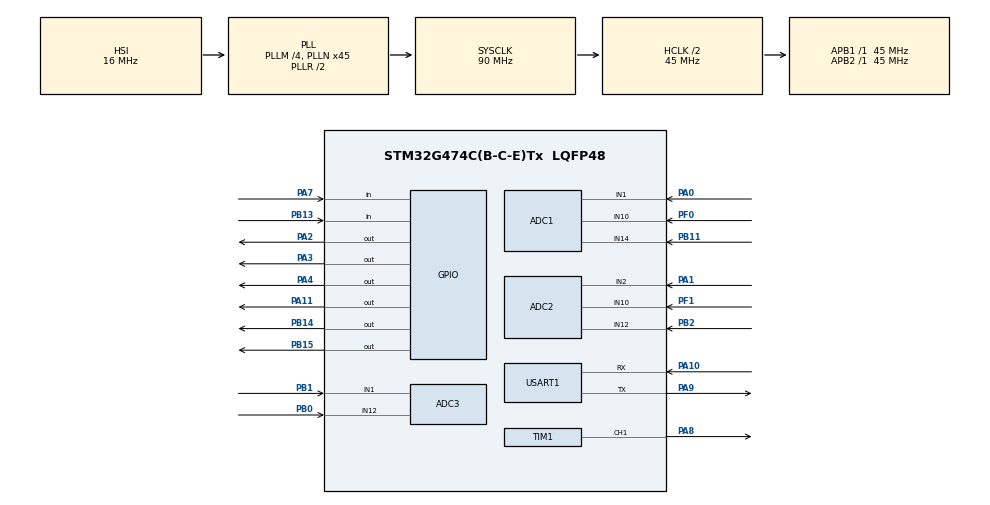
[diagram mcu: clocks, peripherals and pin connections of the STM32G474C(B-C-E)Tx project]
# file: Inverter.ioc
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ADC1.Channel-0\#ChannelRegularConversion=ADC_CHANNEL_1
ADC1.Channel-1\#ChannelRegularConversion=ADC_CHANNEL_10
ADC1.Channel-3\#ChannelRegularConversion=ADC_CHANNEL_14
ADC1.ContinuousConvMode=ENABLE
ADC1.EOCSelection=ADC_EOC_SEQ_CONV
ADC1.NbrOfConversion=3
ADC1.NbrOfConversionFlag=1
ADC1.OffsetNumber-0\#ChannelRegularConversion=ADC_OFFSET_NONE
ADC1.OffsetNumber-1\#ChannelRegularConversion=ADC_OFFSET_NONE
ADC1.OffsetNumber-3\#ChannelRegularConversion=ADC_OFFSET_NONE
ADC1.OversamplingMode=DISABLE
ADC1.Rank-0\#ChannelRegularConversion=1
ADC1.Rank-1\#ChannelRegularConversion=2
ADC1.Rank-3\#ChannelRegularConversion=3
ADC1.SamplingTime-0\#ChannelRegularConversion=ADC_SAMPLETIME_2CYCLES_5
ADC1.SamplingTime-1\#ChannelRegularConversion=ADC_SAMPLETIME_2CYCLES_5
ADC1.SamplingTime-3\#ChannelRegularConversion=ADC_SAMPLETIME_2CYCLES_5
ADC1.master=1
ADC2.Channel-1\#ChannelRegularConversion=ADC_CHANNEL_2
ADC2.Channel-2\#ChannelRegularConversion=ADC_CHANNEL_10
ADC2.Channel-3\#ChannelRegularConversion=ADC_CHANNEL_12
ADC2.ContinuousConvMode=ENABLE
ADC2.EOCSelection=ADC_EOC_SEQ_CONV
ADC2.NbrOfConversion=3
ADC2.NbrOfConversionFlag=1
ADC2.OffsetNumber-1\#ChannelRegularConversion=ADC_OFFSET_NONE
ADC2.OffsetNumber-2\#ChannelRegularConversion=ADC_OFFSET_NONE
ADC2.OffsetNumber-3\#ChannelRegularConversion=ADC_OFFSET_NONE
ADC2.Rank-1\#ChannelRegularConversion=1
ADC2.Rank-2\#ChannelRegularConversion=2
ADC2.Rank-3\#ChannelRegularConversion=3
ADC2.SamplingTime-1\#ChannelRegularConversion=ADC_SAMPLETIME_2CYCLES_5
ADC2.SamplingTime-2\#ChannelRegularConversion=ADC_SAMPLETIME_2CYCLES_5
ADC2.SamplingTime-3\#ChannelRegularConversion=ADC_SAMPLETIME_2CYCLES_5
ADC3.Channel-1\#ChannelRegularConversion=ADC_CHANNEL_1
ADC3.Channel-2\#ChannelRegularConversion=ADC_CHANNEL_12
ADC3.ContinuousConvMode=ENABLE
ADC3.EOCSelection=ADC_EOC_SEQ_CONV
ADC3.NbrOfConversion=2
ADC3.NbrOfConversionFlag=1
ADC3.OffsetNumber-1\#ChannelRegularConversion=ADC_OFFSET_NONE
ADC3.OffsetNumber-2\#ChannelRegularConversion=ADC_OFFSET_NONE
ADC3.OversamplingMode=DISABLE
ADC3.Rank-1\#ChannelRegularConversion=1
ADC3.Rank-2\#ChannelRegularConversion=2
ADC3.SamplingTime-1\#ChannelRegularConversion=ADC_SAMPLETIME_12CYCLES_5
ADC3.SamplingTime-2\#ChannelRegularConversion=ADC_SAMPLETIME_12CYCLES_5
ADC3.master=1
FREERTOS.BinarySemaphores01=myBinarySem01,Dynamic,NULL,Available
FREERTOS.HEAP_NUMBER=4
FREERTOS.Tasks01=defaultTask,0,700,StartDefaultTask,Default,NULL,Dynamic,NULL,NULL;myTask02,0,700,StartTask02,Default,NULL,Dynamic,NULL,NULL
FREERTOS.configGENERATE_RUN_TIME_STATS=1
FREERTOS.configMINIMAL_STACK_SIZE=600
FREERTOS.configTOTAL_HEAP_SIZE=8500
FREERTOS.configUSE_NEWLIB_REENTRANT=1
Mcu.Family=STM32G4
Mcu.Name=STM32G474C(B-C-E)Tx
Mcu.Package=LQFP48
NVIC.ADC1_2_IRQn=true\:5\:0\:false\:false\:true\:true\:true\:true\:true
NVIC.ADC3_IRQn=true\:5\:0\:false\:false\:true\:true\:true\:true\:true
NVIC.PriorityGroup=NVIC_PRIORITYGROUP_4
NVIC.TIM1_BRK_TIM15_IRQn=true\:5\:0\:false\:false\:true\:true\:true\:true\:true
NVIC.TIM1_CC_IRQn=true\:5\:0\:false\:false\:true\:true\:true\:true\:true
NVIC.TIM1_TRG_COM_TIM17_IRQn=true\:5\:0\:false\:false\:true\:true\:true\:true\:true
NVIC.TIM1_UP_TIM16_IRQn=true\:5\:0\:false\:false\:true\:true\:true\:true\:true
NVIC.USART1_IRQn=true\:5\:0\:false\:false\:true\:true\:true\:true\:true
PA0.Mode=IN1-Single-Ended
PA0.Signal=ADC1_IN1
PA1.Mode=IN2-Single-Ended
PA1.Signal=ADC2_IN2
PA10.Mode=Asynchronous
PA10.Signal=USART1_RX
PA11.Signal=GPIO_Output
PA2.Signal=GPIO_Output
PA3.Signal=GPIO_Output
PA4.Signal=GPIO_Output
PA7.Signal=GPIO_Input
PA8.Signal=S_TIM1_CH1
PA9.Mode=Asynchronous
PA9.Signal=USART1_TX
PB0.Mode=IN12-Single-Ended
PB0.Signal=ADC3_IN12
PB1.Mode=IN1-Single-Ended
PB1.Signal=ADC3_IN1
PB11.Mode=IN14-Single-Ended
PB11.Signal=ADC1_IN14
PB13.Signal=GPIO_Input
PB14.Signal=GPIO_Output
PB15.Signal=GPIO_Output
PB2.Mode=IN12-Single-Ended
PB2.Signal=ADC2_IN12
PF0-OSC_IN.Mode=IN10-Single-Ended
PF0-OSC_IN.Signal=ADC1_IN10
PF1-OSC_OUT.Mode=IN10-Single-Ended
PF1-OSC_OUT.Signal=ADC2_IN10
ProjectManager.HeapSize=0x200
ProjectManager.StackSize=0x400
ProjectManager.TargetToolchain=STM32CubeIDE
RCC.ADC12Freq_Value=90000000
RCC.ADC345Freq_Value=90000000
RCC.AHBCLKDivider=RCC_SYSCLK_DIV2
RCC.AHBFreq_Value=45000000
RCC.APB1Freq_Value=45000000
RCC.APB1TimFreq_Value=45000000
RCC.APB2Freq_Value=45000000
RCC.APB2TimFreq_Value=45000000
RCC.CortexFreq_Value=45000000
RCC.EXTERNAL_CLOCK_VALUE=12288000
RCC.HCLKFreq_Value=45000000
RCC.HSE_VALUE=8000000
RCC.HSI48_VALUE=48000000
RCC.HSI_VALUE=16000000
RCC.LSE_VALUE=32768
RCC.PLLM=RCC_PLLM_DIV4
RCC.PLLN=45
RCC.SYSCLKFreq_VALUE=90000000
RCC.SYSCLKSource=RCC_SYSCLKSOURCE_PLLCLK
RCC.USBFreq_Value=90000000
RCC.VCOOutputFreq_Value=180000000
SH.S_TIM1_CH1.0=TIM1_CH1,PWM Generation1 CH1
TIM1.Channel-PWM\ Generation1\ CH1=TIM_CHANNEL_1
USART1.VirtualMode-Asynchronous=VM_ASYNC
VP_FREERTOS_VS_CMSIS_V1.Mode=CMSIS_V1
VP_SYS_VS_DBSignals.Mode=DisableDeadBatterySignals
board=custom

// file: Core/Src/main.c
/* USER CODE BEGIN Header */
/**
  ******************************************************************************
  * @file           : main.c
  * @brief          : Main program body
  ******************************************************************************
  * @attention
  *
  * Copyright (c) 2024 STMicroelectronics.
  * All rights reserved.
  *
  * This software is licensed under terms that can be found in the LICENSE file
  * in the root directory of this software component.
  * If no LICENSE file comes with this software, it is provided AS-IS.
  *
  ******************************************************************************
  */
/* USER CODE END Header */
#include "main.h"
#include "cmsis_os.h"

ADC_HandleTypeDef hadc1;
ADC_HandleTypeDef hadc2;
ADC_HandleTypeDef hadc3;

TIM_HandleTypeDef htim1;

UART_HandleTypeDef huart1;

osThreadId defaultTaskHandle;
osThreadId myTask02Handle;
osSemaphoreId myBinarySem01Handle;

void SystemClock_Config(void);
static void MX_GPIO_Init(void);
static void MX_ADC1_Init(void);
static void MX_TIM1_Init(void);
static void MX_USART1_UART_Init(void);
static void MX_ADC2_Init(void);
static void MX_ADC3_Init(void);
void StartDefaultTask(void const * argument);
void StartTask02(void const * argument);

/* USER CODE BEGIN 0 */
#define OVER_VOLTAGE_THRESHOLD 50.0
#define UNDER_VOLTAGE_THRESHOLD 10.0
#define OVER_CURRENT_THRESHOLD 20.0
#define OVER_TEMPERATURE_THRESHOLD 75.0

float rawCurrent;
float rawVoltage;
float rawTemp;

float voltage = 0.0;
float current = 0.0;
float temperature = 0.0;
float VOLTAGE_SCALE = 0.01221;
float CURRENT_SCALE = 0.00488;
float TEMP_SCALE = 100;
float MAX_OUTPUT = 50;
float TIM_PERIOD = 1000;
int a;
int b;
int d;

float pwmDuty;
/* Private user code ---------------------------------------------------------*/
/* USER CODE BEGIN 0 */

float desiredOutput = 3;
/* USER CODE END 0 */

int main(void)
{

  /* MCU Configuration--------------------------------------------------------*/

  /* Reset of all peripherals, Initializes the Flash interface and the Systick. */
  HAL_Init();

  /* Configure the system clock */
  SystemClock_Config();

  /* Initialize all configured peripherals */
  MX_GPIO_Init();
  MX_ADC1_Init();
  MX_TIM1_Init();
  MX_USART1_UART_Init();
  MX_ADC2_Init();
  MX_ADC3_Init();
  /* USER CODE BEGIN 2 */
  HAL_TIM_PWM_Start(&htim1, TIM_CHANNEL_1);

  /* USER CODE END 2 */

  /* Create the semaphores(s) */
  /* definition and creation of myBinarySem01 */
  osSemaphoreDef(myBinarySem01);
  myBinarySem01Handle = osSemaphoreCreate(osSemaphore(myBinarySem01), 1);

  /* Create the thread(s) */
  /* definition and creation of defaultTask */
  osThreadDef(defaultTask, StartDefaultTask, osPriorityNormal, 0, 700);
  defaultTaskHandle = osThreadCreate(osThread(defaultTask), NULL);

  /* definition and creation of myTask02 */
  osThreadDef(myTask02, StartTask02, osPriorityNormal, 0, 700);
  myTask02Handle = osThreadCreate(osThread(myTask02), NULL);

  /* Start scheduler */
  osKernelStart();

  /* We should never get here as control is now taken by the scheduler */

  /* Infinite loop */
  while (1)
  {

  }
}

void SystemClock_Config(void)
{
  RCC_OscInitTypeDef RCC_OscInitStruct = {0};
  RCC_ClkInitTypeDef RCC_ClkInitStruct = {0};

  /** Configure the main internal regulator output voltage
  */
  HAL_PWREx_ControlVoltageScaling(PWR_REGULATOR_VOLTAGE_SCALE1);

  /** Initializes the RCC Oscillators according to the specified parameters
  * in the RCC_OscInitTypeDef structure.
  */
  RCC_OscInitStruct.OscillatorType = RCC_OSCILLATORTYPE_HSI;
  RCC_OscInitStruct.HSIState = RCC_HSI_ON;
  RCC_OscInitStruct.HSICalibrationValue = RCC_HSICALIBRATION_DEFAULT;
  RCC_OscInitStruct.PLL.PLLState = RCC_PLL_ON;
  RCC_OscInitStruct.PLL.PLLSource = RCC_PLLSOURCE_HSI;
  RCC_OscInitStruct.PLL.PLLM = RCC_PLLM_DIV4;
  RCC_OscInitStruct.PLL.PLLN = 45;
  RCC_OscInitStruct.PLL.PLLP = RCC_PLLP_DIV2;
  RCC_OscInitStruct.PLL.PLLQ = RCC_PLLQ_DIV2;
  RCC_OscInitStruct.PLL.PLLR = RCC_PLLR_DIV2;
  if (HAL_RCC_OscConfig(&RCC_OscInitStruct) != HAL_OK)
  {
    Error_Handler();
  }

  /** Initializes the CPU, AHB and APB buses clocks
  */
  RCC_ClkInitStruct.ClockType = RCC_CLOCKTYPE_HCLK|RCC_CLOCKTYPE_SYSCLK
                              |RCC_CLOCKTYPE_PCLK1|RCC_CLOCKTYPE_PCLK2;
  RCC_ClkInitStruct.SYSCLKSource = RCC_SYSCLKSOURCE_PLLCLK;
  RCC_ClkInitStruct.AHBCLKDivider = RCC_SYSCLK_DIV2;
  RCC_ClkInitStruct.APB1CLKDivider = RCC_HCLK_DIV1;
  RCC_ClkInitStruct.APB2CLKDivider = RCC_HCLK_DIV1;

  if (HAL_RCC_ClockConfig(&RCC_ClkInitStruct, FLASH_LATENCY_1) != HAL_OK)
  {
    Error_Handler();
  }
}

static void MX_ADC1_Init(void)
{

  ADC_MultiModeTypeDef multimode = {0};
  ADC_ChannelConfTypeDef sConfig = {0};

  /** Common config
  */
  hadc1.Instance = ADC1;
  hadc1.Init.ClockPrescaler = ADC_CLOCK_SYNC_PCLK_DIV2;
  hadc1.Init.Resolution = ADC_RESOLUTION_12B;
  hadc1.Init.DataAlign = ADC_DATAALIGN_RIGHT;
  hadc1.Init.GainCompensation = 0;
  hadc1.Init.ScanConvMode = ADC_SCAN_ENABLE;
  hadc1.Init.EOCSelection = ADC_EOC_SEQ_CONV;
  hadc1.Init.LowPowerAutoWait = DISABLE;
  hadc1.Init.ContinuousConvMode = ENABLE;
  hadc1.Init.NbrOfConversion = 3;
  hadc1.Init.DiscontinuousConvMode = DISABLE;
  hadc1.Init.ExternalTrigConv = ADC_SOFTWARE_START;
  hadc1.Init.ExternalTrigConvEdge = ADC_EXTERNALTRIGCONVEDGE_NONE;
  hadc1.Init.DMAContinuousRequests = DISABLE;
  hadc1.Init.Overrun = ADC_OVR_DATA_PRESERVED;
  hadc1.Init.OversamplingMode = DISABLE;
  if (HAL_ADC_Init(&hadc1) != HAL_OK)
  {
    Error_Handler();
  }

  /** Configure the ADC multi-mode
  */
  multimode.Mode = ADC_MODE_INDEPENDENT;
  if (HAL_ADCEx_MultiModeConfigChannel(&hadc1, &multimode) != HAL_OK)
  {
    Error_Handler();
  }

  /** Configure Regular Channel
  */
  sConfig.Channel = ADC_CHANNEL_1;
  sConfig.Rank = ADC_REGULAR_RANK_1;
  sConfig.SamplingTime = ADC_SAMPLETIME_2CYCLES_5;
  sConfig.SingleDiff = ADC_SINGLE_ENDED;
  sConfig.OffsetNumber = ADC_OFFSET_NONE;
  sConfig.Offset = 0;
  if (HAL_ADC_ConfigChannel(&hadc1, &sConfig) != HAL_OK)
  {
    Error_Handler();
  }

  /** Configure Regular Channel
  */
  sConfig.Channel = ADC_CHANNEL_10;
  sConfig.Rank = ADC_REGULAR_RANK_2;
  if (HAL_ADC_ConfigChannel(&hadc1, &sConfig) != HAL_OK)
  {
    Error_Handler();
  }

  /** Configure Regular Channel
  */
  sConfig.Channel = ADC_CHANNEL_14;
  sConfig.Rank = ADC_REGULAR_RANK_3;
  if (HAL_ADC_ConfigChannel(&hadc1, &sConfig) != HAL_OK)
  {
    Error_Handler();
  }

}

static void MX_ADC2_Init(void)
{

  ADC_ChannelConfTypeDef sConfig = {0};

  /** Common config
  */
  hadc2.Instance = ADC2;
  hadc2.Init.ClockPrescaler = ADC_CLOCK_SYNC_PCLK_DIV2;
  hadc2.Init.Resolution = ADC_RESOLUTION_12B;
  hadc2.Init.DataAlign = ADC_DATAALIGN_RIGHT;
  hadc2.Init.GainCompensation = 0;
  hadc2.Init.ScanConvMode = ADC_SCAN_ENABLE;
  hadc2.Init.EOCSelection = ADC_EOC_SEQ_CONV;
  hadc2.Init.LowPowerAutoWait = DISABLE;
  hadc2.Init.ContinuousConvMode = ENABLE;
  hadc2.Init.NbrOfConversion = 3;
  hadc2.Init.DiscontinuousConvMode = DISABLE;
  hadc2.Init.ExternalTrigConv = ADC_SOFTWARE_START;
  hadc2.Init.ExternalTrigConvEdge = ADC_EXTERNALTRIGCONVEDGE_NONE;
  hadc2.Init.DMAContinuousRequests = DISABLE;
  hadc2.Init.Overrun = ADC_OVR_DATA_PRESERVED;
  hadc2.Init.OversamplingMode = DISABLE;
  if (HAL_ADC_Init(&hadc2) != HAL_OK)
  {
    Error_Handler();
  }

  /** Configure Regular Channel
  */
  sConfig.Channel = ADC_CHANNEL_2;
  sConfig.Rank = ADC_REGULAR_RANK_1;
  sConfig.SamplingTime = ADC_SAMPLETIME_2CYCLES_5;
  sConfig.SingleDiff = ADC_SINGLE_ENDED;
  sConfig.OffsetNumber = ADC_OFFSET_NONE;
  sConfig.Offset = 0;
  if (HAL_ADC_ConfigChannel(&hadc2, &sConfig) != HAL_OK)
  {
    Error_Handler();
  }

  /** Configure Regular Channel
  */
  sConfig.Channel = ADC_CHANNEL_10;
  sConfig.Rank = ADC_REGULAR_RANK_2;
  if (HAL_ADC_ConfigChannel(&hadc2, &sConfig) != HAL_OK)
  {
    Error_Handler();
  }

  /** Configure Regular Channel
  */
  sConfig.Channel = ADC_CHANNEL_12;
  sConfig.Rank = ADC_REGULAR_RANK_3;
  if (HAL_ADC_ConfigChannel(&hadc2, &sConfig) != HAL_OK)
  {
    Error_Handler();
  }

}

static void MX_ADC3_Init(void)
{

  ADC_MultiModeTypeDef multimode = {0};
  ADC_ChannelConfTypeDef sConfig = {0};

  /** Common config
  */
  hadc3.Instance = ADC3;
  hadc3.Init.ClockPrescaler = ADC_CLOCK_SYNC_PCLK_DIV2;
  hadc3.Init.Resolution = ADC_RESOLUTION_12B;
  hadc3.Init.DataAlign = ADC_DATAALIGN_RIGHT;
  hadc3.Init.GainCompensation = 0;
  hadc3.Init.ScanConvMode = ADC_SCAN_ENABLE;
  hadc3.Init.EOCSelection = ADC_EOC_SEQ_CONV;
  hadc3.Init.LowPowerAutoWait = DISABLE;
  hadc3.Init.ContinuousConvMode = ENABLE;
  hadc3.Init.NbrOfConversion = 2;
  hadc3.Init.DiscontinuousConvMode = DISABLE;
  hadc3.Init.ExternalTrigConv = ADC_SOFTWARE_START;
  hadc3.Init.ExternalTrigConvEdge = ADC_EXTERNALTRIGCONVEDGE_NONE;
  hadc3.Init.DMAContinuousRequests = DISABLE;
  hadc3.Init.Overrun = ADC_OVR_DATA_PRESERVED;
  hadc3.Init.OversamplingMode = DISABLE;
  if (HAL_ADC_Init(&hadc3) != HAL_OK)
  {
    Error_Handler();
  }

  /** Configure the ADC multi-mode
  */
  multimode.Mode = ADC_MODE_INDEPENDENT;
  if (HAL_ADCEx_MultiModeConfigChannel(&hadc3, &multimode) != HAL_OK)
  {
    Error_Handler();
  }

  /** Configure Regular Channel
  */
  sConfig.Channel = ADC_CHANNEL_1;
  sConfig.Rank = ADC_REGULAR_RANK_1;
  sConfig.SamplingTime = ADC_SAMPLETIME_12CYCLES_5;
  sConfig.SingleDiff = ADC_SINGLE_ENDED;
  sConfig.OffsetNumber = ADC_OFFSET_NONE;
  sConfig.Offset = 0;
  if (HAL_ADC_ConfigChannel(&hadc3, &sConfig) != HAL_OK)
  {
    Error_Handler();
  }

  /** Configure Regular Channel
  */
  sConfig.Channel = ADC_CHANNEL_12;
  sConfig.Rank = ADC_REGULAR_RANK_2;
  if (HAL_ADC_ConfigChannel(&hadc3, &sConfig) != HAL_OK)
  {
    Error_Handler();
  }

}

static void MX_TIM1_Init(void)
{

  TIM_MasterConfigTypeDef sMasterConfig = {0};
  TIM_OC_InitTypeDef sConfigOC = {0};
  TIM_BreakDeadTimeConfigTypeDef sBreakDeadTimeConfig = {0};

  htim1.Instance = TIM1;
  htim1.Init.Prescaler = 0;
  htim1.Init.CounterMode = TIM_COUNTERMODE_UP;
  htim1.Init.Period = 65535;
  htim1.Init.ClockDivision = TIM_CLOCKDIVISION_DIV1;
  htim1.Init.RepetitionCounter = 0;
  htim1.Init.AutoReloadPreload = TIM_AUTORELOAD_PRELOAD_DISABLE;
  if (HAL_TIM_PWM_Init(&htim1) != HAL_OK)
  {
    Error_Handler();
  }
  sMasterConfig.MasterOutputTrigger = TIM_TRGO_RESET;
  sMasterConfig.MasterOutputTrigger2 = TIM_TRGO2_RESET;
  sMasterConfig.MasterSlaveMode = TIM_MASTERSLAVEMODE_DISABLE;
  if (HAL_TIMEx_MasterConfigSynchronization(&htim1, &sMasterConfig) != HAL_OK)
  {
    Error_Handler();
  }
  sConfigOC.OCMode = TIM_OCMODE_PWM1;
  sConfigOC.Pulse = 0;
  sConfigOC.OCPolarity = TIM_OCPOLARITY_HIGH;
  sConfigOC.OCNPolarity = TIM_OCNPOLARITY_HIGH;
  sConfigOC.OCFastMode = TIM_OCFAST_DISABLE;
  sConfigOC.OCIdleState = TIM_OCIDLESTATE_RESET;
  sConfigOC.OCNIdleState = TIM_OCNIDLESTATE_RESET;
  if (HAL_TIM_PWM_ConfigChannel(&htim1, &sConfigOC, TIM_CHANNEL_1) != HAL_OK)
  {
    Error_Handler();
  }
  sBreakDeadTimeConfig.OffStateRunMode = TIM_OSSR_DISABLE;
  sBreakDeadTimeConfig.OffStateIDLEMode = TIM_OSSI_DISABLE;
  sBreakDeadTimeConfig.LockLevel = TIM_LOCKLEVEL_OFF;
  sBreakDeadTimeConfig.DeadTime = 0;
  sBreakDeadTimeConfig.BreakState = TIM_BREAK_DISABLE;
  sBreakDeadTimeConfig.BreakPolarity = TIM_BREAKPOLARITY_HIGH;
  sBreakDeadTimeConfig.BreakFilter = 0;
  sBreakDeadTimeConfig.BreakAFMode = TIM_BREAK_AFMODE_INPUT;
  sBreakDeadTimeConfig.Break2State = TIM_BREAK2_DISABLE;
  sBreakDeadTimeConfig.Break2Polarity = TIM_BREAK2POLARITY_HIGH;
  sBreakDeadTimeConfig.Break2Filter = 0;
  sBreakDeadTimeConfig.Break2AFMode = TIM_BREAK_AFMODE_INPUT;
  sBreakDeadTimeConfig.AutomaticOutput = TIM_AUTOMATICOUTPUT_DISABLE;
  if (HAL_TIMEx_ConfigBreakDeadTime(&htim1, &sBreakDeadTimeConfig) != HAL_OK)
  {
    Error_Handler();
  }
  HAL_TIM_MspPostInit(&htim1);

}

static void MX_USART1_UART_Init(void)
{

  huart1.Instance = USART1;
  huart1.Init.BaudRate = 115200;
  huart1.Init.WordLength = UART_WORDLENGTH_8B;
  huart1.Init.StopBits = UART_STOPBITS_1;
  huart1.Init.Parity = UART_PARITY_NONE;
  huart1.Init.Mode = UART_MODE_TX_RX;
  huart1.Init.HwFlowCtl = UART_HWCONTROL_NONE;
  huart1.Init.OverSampling = UART_OVERSAMPLING_16;
  huart1.Init.OneBitSampling = UART_ONE_BIT_SAMPLE_DISABLE;
  huart1.Init.ClockPrescaler = UART_PRESCALER_DIV1;
  huart1.AdvancedInit.AdvFeatureInit = UART_ADVFEATURE_NO_INIT;
  if (HAL_UART_Init(&huart1) != HAL_OK)
  {
    Error_Handler();
  }
  if (HAL_UARTEx_SetTxFifoThreshold(&huart1, UART_TXFIFO_THRESHOLD_1_8) != HAL_OK)
  {
    Error_Handler();
  }
  if (HAL_UARTEx_SetRxFifoThreshold(&huart1, UART_RXFIFO_THRESHOLD_1_8) != HAL_OK)
  {
    Error_Handler();
  }
  if (HAL_UARTEx_DisableFifoMode(&huart1) != HAL_OK)
  {
    Error_Handler();
  }

}

static void MX_GPIO_Init(void)
{
  GPIO_InitTypeDef GPIO_InitStruct = {0};

  /* GPIO Ports Clock Enable */
  __HAL_RCC_GPIOF_CLK_ENABLE();
  __HAL_RCC_GPIOA_CLK_ENABLE();
  __HAL_RCC_GPIOB_CLK_ENABLE();

  /*Configure GPIO pin Output Level */
  HAL_GPIO_WritePin(GPIOA, GPIO_PIN_2|GPIO_PIN_3|GPIO_PIN_4|GPIO_PIN_11, GPIO_PIN_RESET);

  /*Configure GPIO pin Output Level */
  HAL_GPIO_WritePin(GPIOB, GPIO_PIN_14|GPIO_PIN_15, GPIO_PIN_RESET);

  /*Configure GPIO pins : PA2 PA3 PA4 PA11 */
  GPIO_InitStruct.Pin = GPIO_PIN_2|GPIO_PIN_3|GPIO_PIN_4|GPIO_PIN_11;
  GPIO_InitStruct.Mode = GPIO_MODE_OUTPUT_PP;
  GPIO_InitStruct.Pull = GPIO_NOPULL;
  GPIO_InitStruct.Speed = GPIO_SPEED_FREQ_LOW;
  HAL_GPIO_Init(GPIOA, &GPIO_InitStruct);

  /*Configure GPIO pin : PA7 */
  GPIO_InitStruct.Pin = GPIO_PIN_7;
  GPIO_InitStruct.Mode = GPIO_MODE_INPUT;
  GPIO_InitStruct.Pull = GPIO_NOPULL;
  HAL_GPIO_Init(GPIOA, &GPIO_InitStruct);

  /*Configure GPIO pin : PB13 */
  GPIO_InitStruct.Pin = GPIO_PIN_13;
  GPIO_InitStruct.Mode = GPIO_MODE_INPUT;
  GPIO_InitStruct.Pull = GPIO_NOPULL;
  HAL_GPIO_Init(GPIOB, &GPIO_InitStruct);

  /*Configure GPIO pins : PB14 PB15 */
  GPIO_InitStruct.Pin = GPIO_PIN_14|GPIO_PIN_15;
  GPIO_InitStruct.Mode = GPIO_MODE_OUTPUT_PP;
  GPIO_InitStruct.Pull = GPIO_NOPULL;
  GPIO_InitStruct.Speed = GPIO_SPEED_FREQ_LOW;
  HAL_GPIO_Init(GPIOB, &GPIO_InitStruct);

}

/* USER CODE BEGIN Header_StartDefaultTask */
void Read_Sensors() {

    HAL_ADC_Start(&hadc1);
    HAL_ADC_PollForConversion(&hadc1, HAL_MAX_DELAY);
    rawVoltage = HAL_ADC_GetValue(&hadc1);
    voltage = rawVoltage * (3.3 / 4096) * VOLTAGE_SCALE;  // Scale to actual voltage
    HAL_GPIO_TogglePin(GPIOA, GPIO_PIN_2);

    HAL_ADC_Start(&hadc2);
    HAL_ADC_PollForConversion(&hadc2, HAL_MAX_DELAY);
    rawCurrent = HAL_ADC_GetValue(&hadc2);
    current = rawCurrent * (3.3 / 4096) * CURRENT_SCALE;  // Scale to actual current
    HAL_GPIO_TogglePin(GPIOA, GPIO_PIN_3);

    HAL_ADC_Start(&hadc3);
    HAL_ADC_PollForConversion(&hadc3, HAL_MAX_DELAY);
    rawTemp = HAL_ADC_GetValue(&hadc3);
    temperature = rawTemp * (3.3 / 4096) * TEMP_SCALE;  // Scale to actual temperature
    HAL_GPIO_TogglePin(GPIOA, GPIO_PIN_4);
    b++;

}

void Check_Faults() {
    if (voltage > OVER_VOLTAGE_THRESHOLD) {
        HAL_UART_Transmit(&huart1, (uint8_t*)"Over Voltage Fault\n", 19, HAL_MAX_DELAY);
        HAL_GPIO_TogglePin(GPIOB, GPIO_PIN_14);

    } else if (voltage < UNDER_VOLTAGE_THRESHOLD) {
        HAL_UART_Transmit(&huart1, (uint8_t*)"Under Voltage Fault\n", 20, HAL_MAX_DELAY);
        HAL_GPIO_TogglePin(GPIOB, GPIO_PIN_15);
    }

    if (current > OVER_CURRENT_THRESHOLD) {
        HAL_UART_Transmit(&huart1, (uint8_t*)"Over Current Fault\n", 19, HAL_MAX_DELAY);
        HAL_GPIO_TogglePin(GPIOB, GPIO_PIN_2);
    }

    if (temperature > OVER_TEMPERATURE_THRESHOLD) {
        HAL_UART_Transmit(&huart1, (uint8_t*)"Over Temperature Fault\n", 23, HAL_MAX_DELAY);
        HAL_GPIO_TogglePin(GPIOA, GPIO_PIN_2);
    }
    d++;

}

void Adjust_Output(float desiredOutput) {
    pwmDuty = (float)((desiredOutput / MAX_OUTPUT) * __HAL_TIM_GET_AUTORELOAD(&htim1));

    if (pwmDuty > __HAL_TIM_GET_AUTORELOAD(&htim1)) {
        pwmDuty = __HAL_TIM_GET_AUTORELOAD(&htim1);
        a++;
    }
    __HAL_TIM_SET_COMPARE(&htim1, TIM_CHANNEL_1, pwmDuty);

}

/**
  * @brief  Function implementing the defaultTask thread.
  * @param  argument: Not used
  * @retval None
  */
/* USER CODE END Header_StartDefaultTask */
void StartDefaultTask(void const * argument)
{
  /* USER CODE BEGIN 5 */
  /* Infinite loop */
  for(;;)
  {
		  Read_Sensors();
		Adjust_Output(desiredOutput);

	  osSemaphoreRelease(myBinarySem01Handle);

  }
  /* USER CODE END 5 */
}

void StartTask02(void const * argument)
{
  /* USER CODE BEGIN StartTask02 */
  /* Infinite loop */
  for(;;)
  {
	  if (osSemaphoreWait(myBinarySem01Handle, osWaitForever) == osOK){
		  Check_Faults();
	  }

  }
  /* USER CODE END StartTask02 */
}

void Error_Handler(void)
{
  __disable_irq();
  while (1)
  {
  }
}

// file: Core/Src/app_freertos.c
/* USER CODE BEGIN Header */
/**
  ******************************************************************************
  * File Name          : app_freertos.c
  * Description        : Code for freertos applications
  ******************************************************************************
  * @attention
  *
  * Copyright (c) 2024 STMicroelectronics.
  * All rights reserved.
  *
  * This software is licensed under terms that can be found in the LICENSE file
  * in the root directory of this software component.
  * If no LICENSE file comes with this software, it is provided AS-IS.
  *
  ******************************************************************************
  */
/* USER CODE END Header */

#include "FreeRTOS.h"
#include "task.h"
#include "main.h"

/* Hook prototypes */
void configureTimerForRunTimeStats(void);
unsigned long getRunTimeCounterValue(void);

/* USER CODE BEGIN 1 */
/* Functions needed when configGENERATE_RUN_TIME_STATS is on */
__weak void configureTimerForRunTimeStats(void)
{

}

__weak unsigned long getRunTimeCounterValue(void)
{
return 0;
}
/* USER CODE END 1 */
